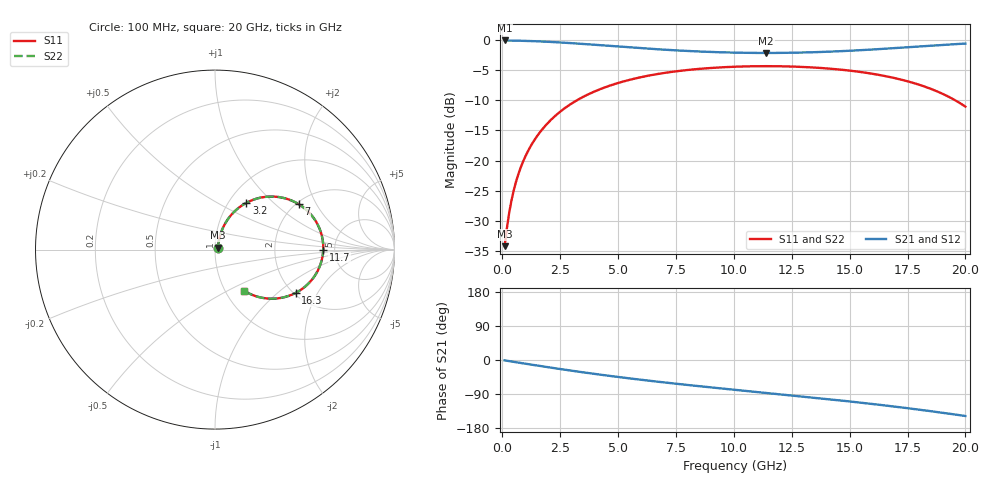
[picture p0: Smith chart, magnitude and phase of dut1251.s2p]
! Touchstone file exported from HFSS 2026.1.0
!  File:  C:/ffzhzh/LocalFiles/Ansys_Project_Files/temp_train_TSV_RDL_1251_1783325493_39728.aedt
!  Generated:  04:23:58 PM Jul  6, 2026
!  Design:  TSV_RDL
!  Project:  temp_train_TSV_RDL_1251_1783325493_39728
! Variables:
!  h_bsmrdl = 3.31um
!  h_ox = 20um
!  h_rdl = 5um
!  h_sub = 79.6um
!  h_tmrdl = 3.31um
!  h_tsv = 79.6um
!  h_via = 3um
!  l_bsmrdl = 201.25um
!  l_sub = 2483.96um
!  l_tmrdl = 343.03um
!  m_sub = 200um
!  pitch = 49.69um
!  r_tsv = 4.78um
!  s_tmrdl = 10um
!  w_bsmrdl = 20.81um
!  w_sub = 500um
!  w_tmrdl = 15.22um
!  x_tsv_center1 = 350.64um
!  x_tsv_center2 = 572.7um
!  x_tsv_center3 = 930.95um
!  x_tsv_center4 = 1153.01um
!  x_tsv_center5 = 1511.26um
!  x_tsv_center6 = 1733.32um
# GHz S MA R 50.000000
! Terminal data exported
! Port[1] = TM_RDL1_1_T1
! Port[2] = TM_RDL5_1_T1
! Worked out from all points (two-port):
!   200 points, 100 MHz to 20 GHz, reference 50 ohm
!   highest |S21| = -0.14 dB at 100 MHz (marker M1); lowest = -2.2 dB at 11.4 GHz (marker M2)
!   |S21| within 3 dB of the highest: start of sweep to end of sweep
!   lowest |S11| = -34.1 dB at 100 MHz (marker M3), VSWR 1.04, Z = 51.6 + j1.14 ohm
!   |S11| at or under -10 dB: start of sweep to 3.234 GHz; 19.55 GHz to end of sweep
!   |S22| runs from -34.1 to -4.4 dB; largest |S21 - S12| = 1.2e-14
!   S11 on the Smith chart (normalised r, x): 100 MHz: 1.03, +0.02; 3.2 GHz: 1.20, +0.70; 7 GHz: 2.06, +1.45; 11.7 GHz: 4.04, +0.00; 16.3 GHz: 2.04, -1.33; 20 GHz: 1.22, -0.60
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0.1  0.01968 34.0  0.9838 -1.0  0.9838 -1.0  0.01968 34.0
! Gamma 0 0 0 0
! Port Impedance 50 0 50 0
0.3  0.03734 60.3  0.9827 -3.0  0.9827 -3.0  0.03734 60.3
0.5  0.0575 67.4  0.9811 -5.0  0.9811 -5.0  0.0575 67.4
0.8  0.08827 70.3  0.9782 -7.9  0.9782 -7.9  0.08827 70.3
1.1  0.119 70.3  0.9745 -10.8  0.9745 -10.8  0.119 70.3
1.5  0.1593 68.6  0.9684 -14.6  0.9684 -14.6  0.1593 68.6
2  0.2079 65.3  0.9587 -19.3  0.9587 -19.3  0.2079 65.3
3.2  0.3136 56.2  0.9289 -30.0  0.9289 -30.0  0.3136 56.2
3.5  0.3372 53.8  0.9205 -32.6  0.9205 -32.6  0.3372 53.8
5.1  0.4439 41.7  0.8742 -45.5  0.8742 -45.5  0.4439 41.7
6.8  0.5232 29.8  0.83 -57.9  0.83 -57.9  0.5232 29.8
7  0.5305 28.5  0.8254 -59.2  0.8254 -59.2  0.5305 28.5
8.6  0.5752 18.4  0.796 -69.7  0.796 -69.7  0.5752 18.4
10.1  0.5976 9.4  0.78 -79.0  0.78 -79.0  0.5976 9.4
11.4  0.6035 1.8  0.7756 -86.9  0.7756 -86.9  0.6035 1.8
11.7  0.6031 0.0  0.7759 -88.7  0.7759 -88.7  0.6031 0.0
13.4  0.5887 -10.0  0.7861 -99.1  0.7861 -99.1  0.5888 -10.0
14.8  0.56 -18.6  0.8053 -108.1  0.8053 -108.1  0.56 -18.6
16.3  0.5097 -28.3  0.8353 -118.3  0.8353 -118.3  0.5097 -28.3
16.7  0.4925 -31.0  0.8446 -121.2  0.8446 -121.2  0.4925 -31.0
18.5  0.3924 -43.8  0.8905 -135.0  0.8905 -135.0  0.3924 -43.8
20  0.2795 -54.9  0.9271 -147.8  0.9271 -147.8  0.2795 -54.8
